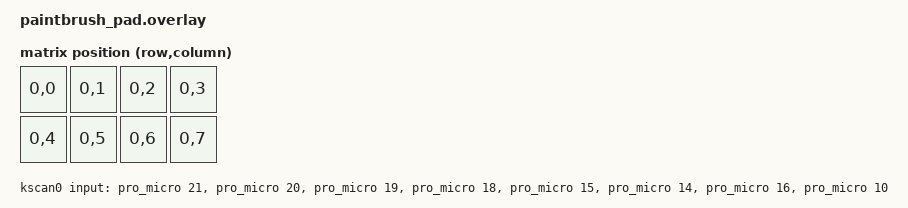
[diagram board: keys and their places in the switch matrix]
/*
 * ARTSEY "The Paintbrush" (KemoNine) used as a plain 2x4 macropad.
 *
 * Pin wiring taken from artseyio/zmk-artsey the_paintbrush_right.overlay and
 * translated to current ZMK pro_micro pin numbers (A0..A3 = 18..21).
 * Keys are direct-wired to ground, so active-low with internal pull-ups.
 *
 * SPDX-License-Identifier: MIT
 */

#include <dt-bindings/zmk/matrix_transform.h>

/ {
    chosen {
        zmk,kscan = &kscan0;
        zmk,physical-layout = &physical_layout0;
        zephyr,display = &oled;
    };

    kscan0: kscan {
        compatible = "zmk,kscan-gpio-direct";
        wakeup-source;

        /* Key order: top row left->right, then bottom row left->right.
         * If your board types mirrored (F16 where F13 is expected), reverse this list. */
        input-gpios
            = <&pro_micro 21 (GPIO_ACTIVE_LOW | GPIO_PULL_UP)>   /* A3  top-left     */
            , <&pro_micro 20 (GPIO_ACTIVE_LOW | GPIO_PULL_UP)>   /* A2  top 2        */
            , <&pro_micro 19 (GPIO_ACTIVE_LOW | GPIO_PULL_UP)>   /* A1  top 3        */
            , <&pro_micro 18 (GPIO_ACTIVE_LOW | GPIO_PULL_UP)>   /* A0  top-right    */
            , <&pro_micro 15 (GPIO_ACTIVE_LOW | GPIO_PULL_UP)>   /* D15 bottom-left  */
            , <&pro_micro 14 (GPIO_ACTIVE_LOW | GPIO_PULL_UP)>   /* D14 bottom 2     */
            , <&pro_micro 16 (GPIO_ACTIVE_LOW | GPIO_PULL_UP)>   /* D16 bottom 3     */
            , <&pro_micro 10 (GPIO_ACTIVE_LOW | GPIO_PULL_UP)>   /* D10 bottom-right */
            ;
    };

    default_transform: keymap_transform_0 {
        compatible = "zmk,matrix-transform";
        columns = <8>;
        rows = <1>;
        map = <
            RC(0,0) RC(0,1) RC(0,2) RC(0,3)
            RC(0,4) RC(0,5) RC(0,6) RC(0,7)
        >;
    };

    physical_layout0: physical_layout_0 {
        compatible = "zmk,physical-layout";
        display-name = "2x4";
        transform = <&default_transform>;
    };
};

&pro_micro_i2c {
    status = "okay";

    oled: ssd1306@3c {
        compatible = "solomon,ssd1306fb";
        reg = <0x3c>;
        width = <128>;
        height = <32>;
        segment-offset = <0>;
        page-offset = <0>;
        display-offset = <0>;
        multiplex-ratio = <31>;
        segment-remap;
        com-invdir;
        com-sequential;
        inversion-on;
        prechargep = <0x22>;
    };
};
